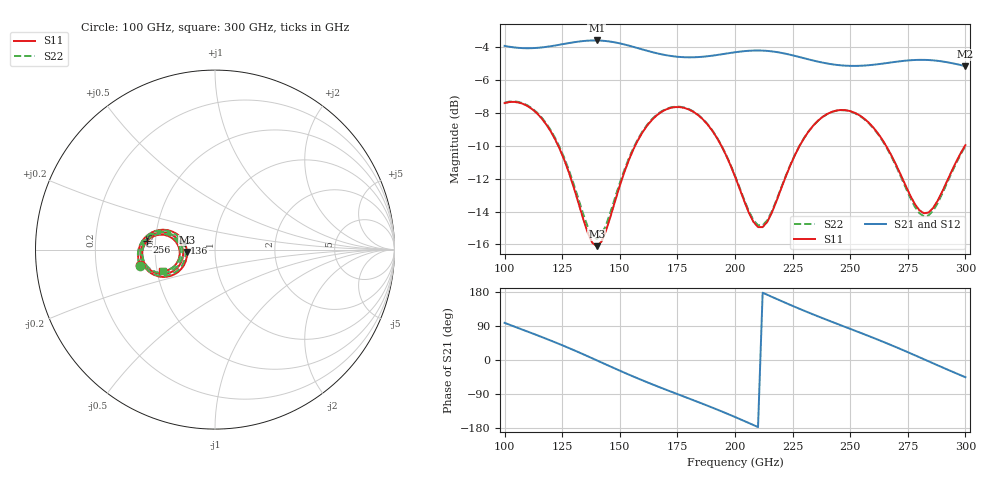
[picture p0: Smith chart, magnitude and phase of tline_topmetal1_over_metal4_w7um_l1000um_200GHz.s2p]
#  GHZ S DB R 50
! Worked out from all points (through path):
!   101 points, 100 GHz to 300 GHz, reference 50 ohm
!   highest |S21| = -3.59 dB at 140 GHz (marker M1); lowest = -5.1 dB at 300 GHz (marker M2)
!   group delay of S21, straight-line fit = 6.99 ps
!   lowest |S11| = -16.1 dB at 140 GHz (marker M3), VSWR 1.37, Z = 36.5 - j0.993 ohm
!   |S11| at or under -10 dB: 123.3 GHz to 156.7 GHz (33.4 GHz wide, 23.9 % of centre); 194.1 GHz to 228.1 GHz (33.97 GHz wide, 16.1 % of centre); 265.6 GHz to 299.8 GHz (34.23 GHz wide, 12.1 % of centre)
!   |S22| runs from -15.7 to -7.3 dB; largest |S21 - S12| = 7.5e-14
!   S11 on the Smith chart (normalised r, x): 100 GHz: 0.41, -0.09; 136 GHz: 0.71, +0.05; 256 GHz: 0.45, +0.05; 300 GHz: 0.53, -0.14
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100  -7.40 -168.1  -3.92 98.0  -3.92 98.0  -7.37 -167.9
108  -7.45 179.4  -4.05 79.5  -4.05 79.5  -7.41 179.8
118  -8.68 165.3  -3.98 56.2  -3.98 56.2  -8.62 165.9
126  -10.89 157.6  -3.79 36.4  -3.79 36.4  -10.77 158.6
134  -14.40 162.6  -3.62 15.5  -3.62 15.5  -14.10 163.6
136  -15.27 168.1  -3.60 10.0  -3.60 10.0  -14.90 168.8
140  -16.11 -175.1  -3.59 -0.9  -3.59 -0.9  -15.67 -175.6
146  -14.29 -153.5  -3.66 -17.3  -3.66 -17.3  -14.02 -155.2
154  -10.84 -149.3  -3.90 -38.7  -3.90 -38.7  -10.74 -150.8
168  -7.94 -165.1  -4.43 -73.6  -4.43 -73.6  -7.91 -166.1
184  -8.13 173.0  -4.60 -111.0  -4.60 -111.0  -8.11 172.3
200  -11.87 161.0  -4.30 -150.4  -4.30 -150.4  -11.81 160.6
208  -14.63 173.9  -4.20 -171.6  -4.20 -171.6  -14.53 173.3
212  -14.95 -172.4  -4.20 177.5  -4.20 177.5  -14.84 -173.3
222  -11.88 -153.0  -4.39 150.6  -4.39 150.6  -11.84 -154.2
234  -8.76 -160.0  -4.81 120.1  -4.81 120.1  -8.76 -161.1
244  -7.85 -172.1  -5.07 96.2  -5.07 96.2  -7.86 -173.2
256  -8.33 173.2  -5.11 68.1  -5.11 68.1  -8.36 172.1
268  -10.61 163.8  -4.92 38.7  -4.92 38.7  -10.69 162.6
282  -14.11 -178.0  -4.77 2.0  -4.77 2.0  -14.29 -178.7
290  -12.77 -159.8  -4.86 -19.4  -4.86 -19.4  -12.90 -160.0
300  -9.95 -157.7  -5.15 -45.4  -5.15 -45.4  -10.02 -157.9
